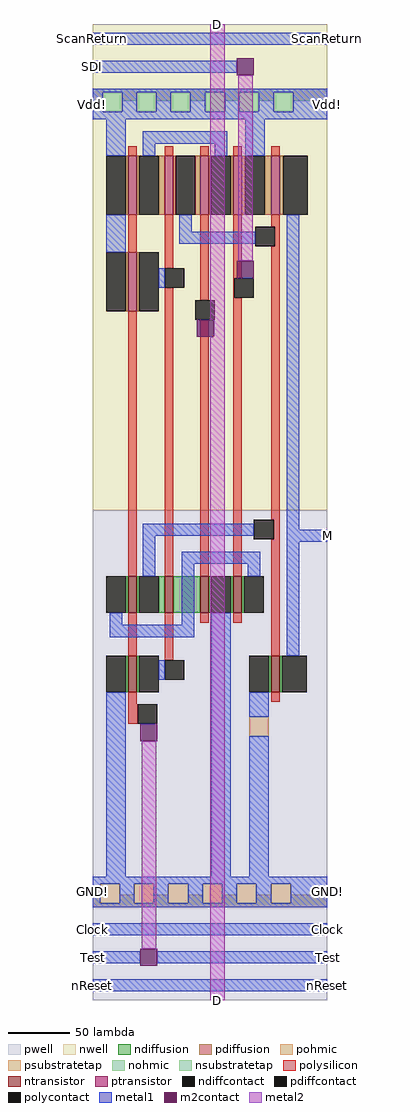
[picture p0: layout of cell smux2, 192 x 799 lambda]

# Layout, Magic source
magic
tech c035u
<< nwell >>
rect 0 401 192 799
<< pwell >>
rect 0 0 192 401
<< polysilicon >>
rect 29 691 36 699
rect 59 691 66 699
rect 88 691 95 699
rect 115 691 122 699
rect 146 691 153 699
rect 29 612 36 643
rect 59 599 66 643
rect 29 347 36 564
rect 59 347 66 583
rect 88 573 95 643
rect 115 591 122 643
rect 146 633 153 643
rect 149 617 153 633
rect 115 575 116 591
rect 88 347 95 557
rect 115 347 122 575
rect 146 393 153 617
rect 148 377 153 393
rect 29 282 36 317
rect 59 278 66 317
rect 88 309 95 317
rect 115 309 122 317
rect 146 282 153 377
rect 29 242 36 252
rect 146 244 153 252
rect 29 226 37 242
<< ndiffusion >>
rect 27 317 29 347
rect 36 317 38 347
rect 54 317 59 347
rect 66 317 88 347
rect 95 317 97 347
rect 113 317 115 347
rect 122 317 124 347
rect 27 252 29 282
rect 36 252 38 282
rect 144 252 146 282
rect 153 252 155 282
<< pdiffusion >>
rect 27 643 29 691
rect 36 643 38 691
rect 54 643 59 691
rect 66 643 68 691
rect 84 643 88 691
rect 95 643 97 691
rect 113 643 115 691
rect 122 643 125 691
rect 141 643 146 691
rect 153 643 156 691
rect 27 564 29 612
rect 36 564 38 612
<< pohmic >>
rect 0 79 6 86
rect 22 79 34 86
rect 50 79 62 86
rect 78 79 90 86
rect 106 79 118 86
rect 134 79 146 86
rect 162 79 192 86
rect 0 76 192 79
<< nohmic >>
rect 0 743 192 746
rect 0 736 8 743
rect 24 736 36 743
rect 52 736 64 743
rect 80 736 92 743
rect 108 736 120 743
rect 136 736 148 743
rect 164 736 192 743
<< ntransistor >>
rect 29 317 36 347
rect 59 317 66 347
rect 88 317 95 347
rect 115 317 122 347
rect 29 252 36 282
rect 146 252 153 282
<< ptransistor >>
rect 29 643 36 691
rect 59 643 66 691
rect 88 643 95 691
rect 115 643 122 691
rect 146 643 153 691
rect 29 564 36 612
<< polycontact >>
rect 59 583 75 599
rect 133 617 149 633
rect 116 575 132 591
rect 84 557 100 573
rect 132 377 148 393
rect 59 262 75 278
rect 37 226 53 242
<< ndiffcontact >>
rect 11 317 27 347
rect 38 317 54 347
rect 97 317 113 347
rect 124 317 140 347
rect 11 252 27 282
rect 38 252 54 282
rect 128 252 144 282
rect 155 252 175 282
<< pdiffcontact >>
rect 11 643 27 691
rect 38 643 54 691
rect 68 643 84 691
rect 97 643 113 691
rect 125 643 141 691
rect 156 643 176 691
rect 11 564 27 612
rect 38 564 54 612
<< psubstratetap >>
rect 128 216 144 232
rect 6 79 22 95
rect 34 79 50 95
rect 62 79 78 95
rect 90 79 106 95
rect 118 79 134 95
rect 146 79 162 95
<< nsubstratetap >>
rect 8 727 24 743
rect 36 727 52 743
rect 64 727 80 743
rect 92 727 108 743
rect 120 727 136 743
rect 148 727 164 743
<< metal1 >>
rect 0 782 192 792
rect 0 759 118 769
rect 0 743 192 746
rect 0 727 8 743
rect 24 727 36 743
rect 52 727 64 743
rect 80 727 92 743
rect 108 727 120 743
rect 136 727 148 743
rect 164 727 192 743
rect 0 721 192 727
rect 11 691 27 721
rect 41 701 110 711
rect 41 691 51 701
rect 100 691 110 701
rect 125 691 141 721
rect 11 612 27 643
rect 71 629 81 643
rect 71 619 133 629
rect 54 583 59 599
rect 41 380 132 390
rect 41 347 51 380
rect 159 385 169 643
rect 159 375 192 385
rect 73 357 137 367
rect 14 307 24 317
rect 73 307 83 357
rect 127 347 137 357
rect 14 297 83 307
rect 54 262 59 278
rect 11 101 27 252
rect 97 101 113 317
rect 159 282 169 375
rect 128 232 144 252
rect 128 101 144 216
rect 0 95 192 101
rect 0 79 6 95
rect 22 79 34 95
rect 50 79 62 95
rect 78 79 90 95
rect 106 79 118 95
rect 134 79 146 95
rect 162 79 192 95
rect 0 76 192 79
rect 0 53 192 63
rect 0 30 39 40
rect 53 30 192 40
rect 0 7 192 17
<< m2contact >>
rect 118 757 132 771
rect 118 591 132 605
rect 85 543 99 557
rect 39 212 53 226
rect 39 28 53 42
<< metal2 >>
rect 96 557 108 799
rect 119 605 131 757
rect 99 543 108 557
rect 40 42 52 212
rect 96 0 108 543
<< labels >>
rlabel metal1 0 782 0 792 4 ScanReturn
rlabel metal1 0 759 0 769 3 SDI
rlabel metal2 96 799 108 799 5 D
rlabel metal1 0 76 0 101 1 GND!
rlabel metal1 0 7 0 17 2 nReset
rlabel metal1 0 30 0 40 3 Test
rlabel metal1 0 53 0 63 3 Clock
rlabel metal2 96 0 108 0 1 D
rlabel metal1 0 721 0 746 3 Vdd!
rlabel metal1 192 782 192 792 6 ScanReturn
rlabel metal1 192 53 192 63 7 Clock
rlabel metal1 192 30 192 40 7 Test
rlabel metal1 192 7 192 17 8 nReset
rlabel metal1 192 76 192 101 7 GND!
rlabel metal1 192 721 192 746 7 Vdd!
rlabel metal1 192 375 192 385 7 M
<< end >>
